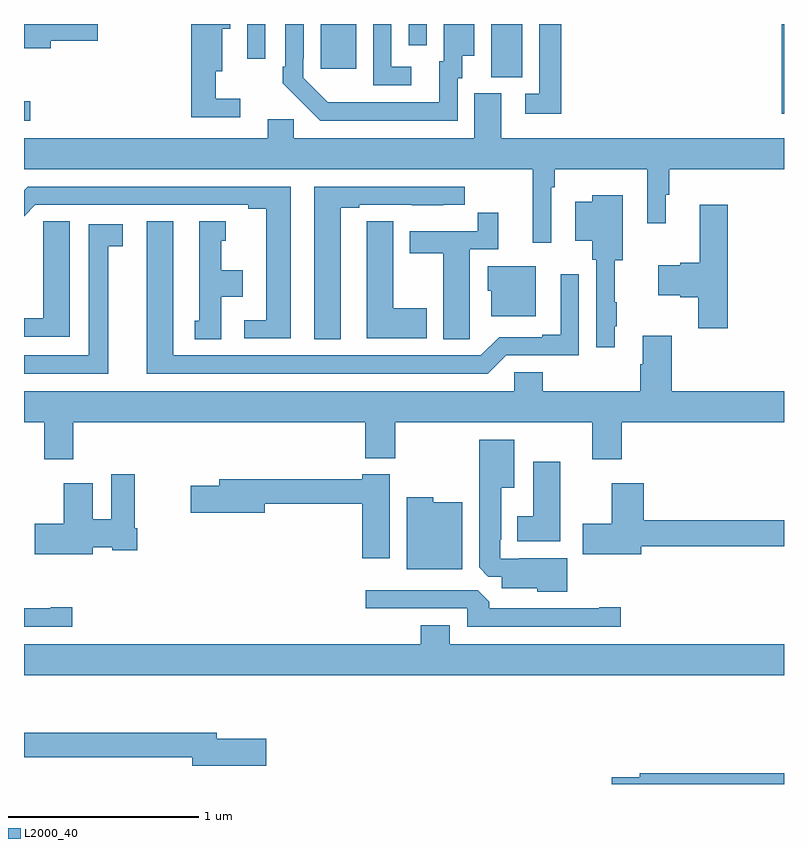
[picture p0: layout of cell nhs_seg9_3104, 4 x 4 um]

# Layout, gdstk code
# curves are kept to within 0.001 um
import gdstk
lib = gdstk.Library(unit=1e-6, precision=1e-09)
def R(c, l, rs):  # rectangles x0, y0, x1, y1
    for r in rs: c.add(gdstk.rectangle(r[:2], r[2:], *l))
def P(c, l, *ps):  # polygons
    for p in ps: c.add(gdstk.Polygon(p, *l))
L2000_40 = (2000, 40)

nhs_seg9_3104 = lib.new_cell('nhs_seg9_3104')
R(nhs_seg9_3104, L2000_40, [(289,1213.992,289.033,1214.093), (292.987,1214.028,293,1214.5), (291.458,1214.221,291.622,1214.5), (290.561,1214.265,290.749,1214.5), (290.175,1214.316,290.271,1214.5), (291.024,1214.388,291.12,1214.5)])
P(nhs_seg9_3104, L2000_40, [(291.037,1214.274),(290.934,1214.274),(290.934,1214.5),(290.838,1214.5),(290.838,1214.178),(291.037,1214.178)],
  [(290.137,1214.107),(290.008,1214.107),(290.008,1214.252),(290.044,1214.252),(290.044,1214.474),(290.086,1214.474),(290.086,1214.5),(289.879,1214.5),(289.879,1214.01),(290.137,1214.01)],
  [(291.282,1214.214),(291.307,1214.214),(291.307,1214.333),(291.37,1214.333),(291.37,1214.5),(291.209,1214.5),(291.209,1214.304),(291.185,1214.304),(291.185,1214.088),(290.598,1214.089),(290.469,1214.217),(290.469,1214.317),(290.472,1214.317),(290.472,1214.5),(290.376,1214.5),(290.376,1214.275),(290.361,1214.275),(290.361,1214.187),(290.558,1213.992),(291.282,1213.992)],
  [(291.827,1214.5),(291.711,1214.5),(291.711,1214.133),(291.639,1214.133),(291.639,1214.028),(291.827,1214.028)],
  [(289.141,1214.411),(289.387,1214.411),(289.387,1214.5),(289,1214.5),(289,1214.372),(289.141,1214.372)],
  [(291.774,1213.64),(291.794,1213.64),(291.794,1213.736),(292.28,1213.736),(292.28,1213.452),(292.378,1213.452),(292.378,1213.602),(292.397,1213.602),(292.397,1213.736),(293,1213.736),(293,1213.9),(291.511,1213.9),(291.511,1214.136),(291.371,1214.136),(291.371,1213.9),(290.421,1213.9),(290.421,1213.998),(290.282,1213.998),(290.282,1213.9),(289,1213.9),(289,1213.736),(291.677,1213.736),(291.677,1213.35),(291.774,1213.35)],
  [(290.668,1213.533),(290.764,1213.533),(290.764,1213.548),(291.04,1213.548),(291.04,1213.547),(291.206,1213.547),(291.206,1213.548),(291.319,1213.548),(291.319,1213.644),(290.528,1213.644),(290.528,1212.841),(290.668,1212.841)],
  [(290.404,1213.644),(289.019,1213.644),(289,1213.625),(289,1213.489),(289.059,1213.548),(290.18,1213.548),(290.18,1213.528),(290.276,1213.528),(290.276,1212.942),(290.16,1212.942),(290.16,1212.846),(290.404,1212.846)],
  [(292.108,1212.91),(292.12,1212.91),(292.12,1213.035),(292.11,1213.035),(292.11,1213.256),(292.15,1213.256),(292.15,1213.6),(291.992,1213.6),(291.992,1213.564),(291.902,1213.564),(291.902,1213.358),(291.992,1213.358),(291.992,1213.26),(292.011,1213.26),(292.011,1212.798),(292.108,1212.798)],
  [(292.703,1213.549),(292.556,1213.549),(292.556,1213.244),(292.455,1213.244),(292.455,1213.231),(292.338,1213.231),(292.338,1213.073),(292.455,1213.073),(292.455,1213.061),(292.549,1213.061),(292.549,1212.9),(292.703,1212.9)],
  [(291.345,1212.952),(291.346,1212.952),(291.346,1213.314),(291.497,1213.314),(291.497,1213.507),(291.388,1213.507),(291.388,1213.41),(291.029,1213.41),(291.029,1213.294),(291.206,1213.294),(291.206,1212.841),(291.345,1212.841)],
  [(291.121,1213.005),(290.944,1213.005),(290.944,1213.463),(290.805,1213.463),(290.805,1213.355),(290.804,1213.355),(290.804,1212.845),(291.121,1212.845)],
  [(289.24,1213.463),(289.101,1213.463),(289.101,1213.355),(289.1,1213.355),(289.1,1212.952),(289,1212.952),(289,1212.855),(289.24,1212.855)],
  [(290.038,1213.064),(290.152,1213.064),(290.152,1213.204),(290.038,1213.204),(290.038,1213.359),(290.062,1213.359),(290.062,1213.462),(289.922,1213.462),(289.922,1212.939),(289.898,1212.939),(289.898,1212.841),(290.038,1212.841)],
  [(291.537,1212.756),(291.921,1212.756),(291.921,1213.183),(291.824,1213.183),(291.824,1212.865),(291.728,1212.865),(291.728,1212.852),(291.501,1212.852),(291.405,1212.756),(289.786,1212.756),(289.786,1213.462),(289.646,1213.462),(289.646,1212.66),(291.441,1212.66)],
  [(289.444,1213.33),(289.519,1213.33),(289.519,1213.446),(289.34,1213.446),(289.34,1212.756),(289,1212.756),(289,1212.66),(289.444,1212.66)],
  [(291.694,1213.225),(291.44,1213.225),(291.44,1213.095),(291.458,1213.095),(291.458,1212.962),(291.694,1212.962)],
  [(289.259,1212.404),(290.795,1212.404),(290.795,1212.215),(290.955,1212.215),(290.955,1212.404),(291.992,1212.404),(291.992,1212.21),(292.145,1212.21),(292.145,1212.404),(293,1212.404),(293,1212.568),(292.409,1212.568),(292.409,1212.859),(292.256,1212.859),(292.256,1212.71),(292.244,1212.71),(292.244,1212.568),(291.731,1212.568),(291.731,1212.666),(291.579,1212.666),(291.579,1212.568),(289,1212.568),(289,1212.404),(289.106,1212.404),(289.106,1212.21),(289.259,1212.21)],
  [(291.859,1211.689),(291.607,1211.689),(291.607,1211.685),(291.507,1211.685),(291.507,1211.785),(291.511,1211.785),(291.511,1212.059),(291.58,1212.059),(291.58,1212.313),(291.395,1212.313),(291.395,1211.641),(291.444,1211.592),(291.515,1211.592),(291.515,1211.531),(291.702,1211.531),(291.702,1211.513),(291.859,1211.513)],
  [(291.823,1212.196),(291.68,1212.196),(291.68,1211.908),(291.596,1211.908),(291.596,1211.777),(291.823,1211.777)],
  [(289.363,1211.747),(289.464,1211.747),(289.464,1211.729),(289.595,1211.729),(289.595,1211.845),(289.582,1211.845),(289.582,1212.13),(289.46,1212.13),(289.46,1211.894),(289.363,1211.894),(289.363,1212.082),(289.208,1212.082),(289.208,1211.871),(289.056,1211.871),(289.056,1211.708),(289.363,1211.708)],
  [(290.926,1212.13),(290.78,1212.13),(290.78,1212.103),(290.027,1212.103),(290.027,1212.069),(289.878,1212.069),(289.878,1211.927),(290.266,1211.927),(290.266,1211.974),(290.78,1211.974),(290.78,1211.688),(290.926,1211.688)],
  [(292.249,1211.752),(293,1211.752),(293,1211.888),(292.262,1211.888),(292.262,1212.082),(292.094,1212.082),(292.094,1211.871),(291.942,1211.871),(291.942,1211.708),(292.249,1211.708)],
  [(291.307,1211.983),(291.153,1211.983),(291.153,1212.01),(291.014,1212.01),(291.014,1211.63),(291.307,1211.63)],
  [(292.141,1211.429),(292.028,1211.429),(292.028,1211.424),(291.449,1211.424),(291.449,1211.458),(291.387,1211.52),(290.799,1211.52),(290.799,1211.424),(291.333,1211.424),(291.333,1211.328),(292.141,1211.328)],
  [(289.255,1211.429),(289.142,1211.429),(289.142,1211.424),(289,1211.424),(289,1211.328),(289.255,1211.328)],
  [(293,1211.236),(291.241,1211.236),(291.241,1211.335),(291.089,1211.335),(291.089,1211.236),(289,1211.236),(289,1211.072),(293,1211.072)],
  [(290.275,1210.737),(290.014,1210.737),(290.014,1210.771),(289,1210.771),(289,1210.642),(289.886,1210.642),(289.886,1210.595),(290.275,1210.595)],
  [(293,1210.556),(292.24,1210.556),(292.24,1210.536),(292.094,1210.536),(292.094,1210.5),(293,1210.5)])

lib.write_gds('nhs_seg9_3104.gds')
